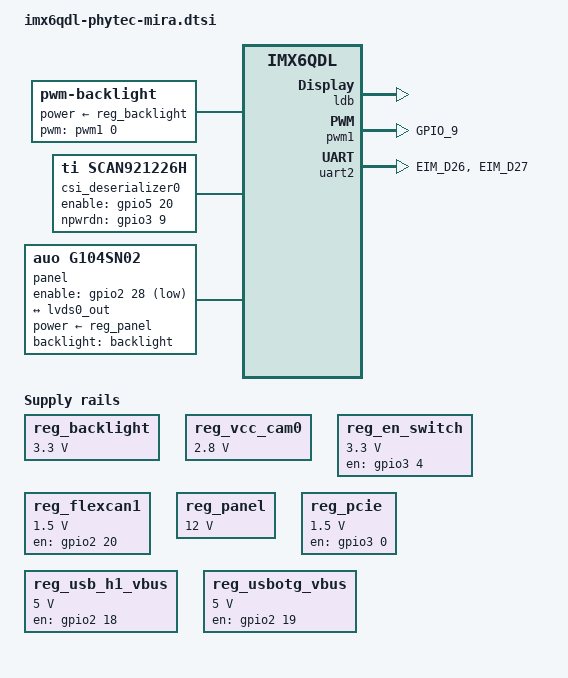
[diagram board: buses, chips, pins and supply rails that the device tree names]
// SPDX-License-Identifier: (GPL-2.0+ OR MIT)
/*
 * Copyright (C) 2018 PHYTEC Messtechnik GmbH
 * Author: Christian Hemp <c.hemp@phytec.de>
 */

#include <dt-bindings/leds/leds-pca9532.h>

/ {
	aliases {
		rtc0 = &i2c_rtc;
	};

	backlight: backlight {
		compatible = "pwm-backlight";
		brightness-levels = <0 4 8 16 32 64 128 255>;
		default-brightness-level = <7>;
		power-supply = <&reg_backlight>;
		pwms = <&pwm1 0 5000000>;
		status = "okay";
	};

	csi_deserializer0: csi_deserializer0 {
		compatible = "ti,scan921226h";
		pinctrl-names = "default";
		pinctrl-0 = <&pinctrl_cam0switch>;
		status = "okay";

		enable-gpios = <&gpio5 20 GPIO_ACTIVE_HIGH>;
		npwrdn-gpios = <&gpio3 9 GPIO_ACTIVE_HIGH>;

		#address-cells = <1>;
		#size-cells = <0>;

		/* serial sink interface */
		port@0 {
			reg = <0>;

			des0_in: endpoint {
			};
		};

		/* parallel source interface */
		port@1 {
			reg = <1>;

			des0_out: endpoint {
			};
		};
	};

	dim_gpio_leds: dimleds {
		compatible = "gpio-leds";
		status = "disabled";

		mira-red {
			gpios = <&leddim 0 GPIO_ACTIVE_LOW>;
			linux,default-trigger = "none";
		};

		mira-green {
			gpios = <&leddim 1 GPIO_ACTIVE_LOW>;
			linux,default-trigger = "none";
		};

		mira-blue {
			gpios = <&leddim 2 GPIO_ACTIVE_LOW>;
			linux,default-trigger = "mmc0";
			default-state = "on";
		};
	};

	gpio_leds: leds {
		compatible = "gpio-leds";
		pinctrl-names = "default";
		pinctrl-0 = <&pinctrl_gpioleds>;
		status = "disabled";

		mira-red {
			gpios = <&gpio5 22 GPIO_ACTIVE_HIGH>;
		};

		mira-green {
			gpios = <&gpio5 23 GPIO_ACTIVE_HIGH>;
		};

		mira-blue {
			gpios = <&gpio5 24 GPIO_ACTIVE_HIGH>;
			linux,default-trigger = "mmc0";
		};
	};

	reg_backlight: regulator-backlight {
		compatible = "regulator-fixed";
		regulator-name = "backlight_3v3";
		regulator-min-microvolt = <3300000>;
		regulator-max-microvolt = <3300000>;
		regulator-always-on;
	};

	reg_vcc_cam0: regulator-cam0 {
		compatible = "regulator-fixed";
		regulator-name = "VCC_CAM0";
		regulator-min-microvolt = <2800000>;
		regulator-max-microvolt = <2800000>;
	};

	reg_en_switch: regulator-en-switch {
		compatible = "regulator-fixed";
		pinctrl-names = "default";
		pinctrl-0 = <&pinctrl_en_switch>;
		regulator-name = "Enable Switch";
		regulator-min-microvolt = <3300000>;
		regulator-max-microvolt = <3300000>;
		enable-active-high;
		gpio = <&gpio3 4 GPIO_ACTIVE_HIGH>;
		regulator-always-on;
	};

	reg_flexcan1: regulator-flexcan1 {
		compatible = "regulator-fixed";
		pinctrl-names = "default";
		pinctrl-0 = <&pinctrl_flexcan1_en>;
		regulator-name = "flexcan1-reg";
		regulator-min-microvolt = <1500000>;
		regulator-max-microvolt = <1500000>;
		gpio = <&gpio2 20 GPIO_ACTIVE_HIGH>;
		enable-active-high;
	};

	reg_panel: regulator-panel {
		compatible = "regulator-fixed";
		regulator-name = "panel-power-supply";
		regulator-min-microvolt = <12000000>;
		regulator-max-microvolt = <12000000>;
		regulator-always-on;
	};

	reg_pcie: regulator-pcie {
		compatible = "regulator-fixed";
		pinctrl-names = "default";
		pinctrl-0 = <&pinctrl_pcie_reg>;
		regulator-name = "mPCIe_1V5";
		regulator-min-microvolt = <1500000>;
		regulator-max-microvolt = <1500000>;
		gpio = <&gpio3 0 GPIO_ACTIVE_HIGH>;
		enable-active-high;
	};

	reg_usb_h1_vbus: usb-h1-vbus {
		compatible = "regulator-fixed";
		pinctrl-names = "default";
		pinctrl-0 = <&pinctrl_usbh1_vbus>;
		regulator-name = "usb_h1_vbus";
		regulator-min-microvolt = <5000000>;
		regulator-max-microvolt = <5000000>;
		gpio = <&gpio2 18 GPIO_ACTIVE_HIGH>;
		enable-active-high;
	};

	reg_usbotg_vbus: usbotg-vbus {
		compatible = "regulator-fixed";
		pinctrl-names = "default";
		pinctrl-0 = <&pinctrl_usbotg_vbus>;
		regulator-name = "usb_otg_vbus";
		regulator-min-microvolt = <5000000>;
		regulator-max-microvolt = <5000000>;
		gpio = <&gpio2 19 GPIO_ACTIVE_HIGH>;
		enable-active-high;
	};

	panel {
		compatible = "auo,g104sn02";
		pinctrl-names = "default";
		pinctrl-0 = <&pinctrl_panel_en>;
		power-supply = <&reg_panel>;
		enable-gpios = <&gpio2 28 GPIO_ACTIVE_LOW>;
		backlight = <&backlight>;

		port {
			panel_in: endpoint {
				remote-endpoint = <&lvds0_out>;
			};
		};
	};
};

&can1 {
	pinctrl-names = "default";
	pinctrl-0 = <&pinctrl_flexcan1>;
	xceiver-supply = <&reg_flexcan1>;
	status = "disabled";
};

&hdmi {
	pinctrl-names = "default";
	pinctrl-0 = <&pinctrl_hdmicec>;
	ddc-i2c-bus = <&i2c2>;
	status = "disabled";
};

&i2c1 {
	pinctrl-names = "default";
	pinctrl-0 = <&pinctrl_i2c1>;
	clock-frequency = <100000>;
	status = "disabled";

	leddim: leddimmer@62 {
		compatible = "nxp,pca9533";
		gpio-controller;
		#gpio-cells = <2>;
		reg = <0x62>;
		status = "disabled";

		red {
			label = "red";
			type = <PCA9532_TYPE_GPIO>;
		};

		green {
			label = "green";
			type = <PCA9532_TYPE_GPIO>;
		};

		blue {
			label = "blue";
			type = <PCA9532_TYPE_GPIO>;
		};
	};

	stmpe: touchctrl@44 {
		compatible = "st,stmpe811";
		pinctrl-names = "default";
		pinctrl-0 = <&pinctrl_stmpe>;
		reg = <0x44>;
		interrupt-parent = <&gpio7>;
		interrupts = <12 IRQ_TYPE_NONE>;
		status = "disabled";

		stmpe_touchscreen {
			compatible = "st,stmpe-ts";
			st,sample-time = <4>;
			st,mod-12b = <1>;
			st,ref-sel = <0>;
			st,adc-freq = <1>;
			st,ave-ctrl = <1>;
			st,touch-det-delay = <2>;
			st,settling = <2>;
			st,fraction-z = <7>;
			st,i-drive = <1>;
		};
	};

	i2c_rtc: rtc@68 {
		compatible = "microcrystal,rv4162";
		pinctrl-names = "default";
		pinctrl-0 = <&pinctrl_rtc_int>;
		reg = <0x68>;
		interrupt-parent = <&gpio7>;
		interrupts = <8 IRQ_TYPE_LEVEL_HIGH>;
		status = "disabled";
	};

	/* VM-011 */
	mt9p031_0: mt9p031_0@48 {
		compatible = "aptina,mt9p031";
		pinctrl-names = "default";
		pinctrl-0 = <
			&pinctrl_cam0data
			&pinctrl_cam0clk
		>;
		reg = <0x48>;
		status = "disabled";

		vdd-supply = <&reg_vcc_cam0>;
		vdd_io-supply = <&reg_vcc_cam0>;
		vaa-supply = <&reg_vcc_cam0>;

		clocks = <&clks IMX6QDL_CLK_CKO1>;

		assigned-clocks =
			<&clks IMX6QDL_CLK_CKO1_SEL>,
			<&clks IMX6QDL_CLK_CKO>,
			<&clks IMX6QDL_CLK_PLL4_AUDIO_DIV>;

		assigned-clock-parents =
			<&clks IMX6QDL_CLK_PLL4_AUDIO_DIV>,
			<&clks IMX6QDL_CLK_CKO1>;

		assigned-clock-rates = <0>, <0>, <216000000>;

		port {
			mt9p031_ep0: endpoint {
				remote-endpoint = <
					&ipu1_csi0_mux_from_parallel_sensor
				>;
				input-clock-frequency = <54000000>;
				pixel-clock-frequency = <54000000>;
				bus-width = <8>;
				hsync-active = <1>;
				vsync-active = <1>;
				pclk-sample = <1>;
			};
		};
	};

	/* VM-010 */
	mt9v024_0: mt9v024_0@48 {
		compatible = "aptina,mt9v024";
		pinctrl-names = "default";
		pinctrl-0 = <
			&pinctrl_cam0data
			&pinctrl_cam0clk
		>;
		reg = <0x48>;
		status = "disabled";

		clocks = <&clks IMX6QDL_CLK_CKO1>;

		assigned-clocks =
			<&clks IMX6QDL_CLK_CKO1_SEL>,
			<&clks IMX6QDL_CLK_CKO>,
			<&clks IMX6QDL_CLK_PLL4_AUDIO_DIV>;

		assigned-clock-parents =
			<&clks IMX6QDL_CLK_PLL4_AUDIO_DIV>,
			<&clks IMX6QDL_CLK_CKO1>;

		assigned-clock-rates = <0>, <0>, <216000000>;

		port {
			mt9v024_ep0_0: endpoint {
				remote-endpoint = <
					&ipu1_csi0_mux_from_parallel_sensor
				>;
				link-frequencies = /bits/ 64 <27000000>;
				bus-width = <8>;
				hsync-active = <1>;
				vsync-active = <1>;
			};
		};
        };

	/* VM-009 */
	mt9m111_0: mt9m111_0@48 {
		compatible = "micron,mt9m111";
		pinctrl-names = "default";
		pinctrl-0 = <
			&pinctrl_cam0data
			&pinctrl_cam0clk
		>;
		reg = <0x48>;
		status = "disabled";

		clocks = <&clks IMX6QDL_CLK_CKO>;
		clock-names = "mclk";
		phytec,invert-pixclk;

		assigned-clocks =
			<&clks IMX6QDL_CLK_CKO1_SEL>,
			<&clks IMX6QDL_CLK_CKO>,
			<&clks IMX6QDL_CLK_PLL4_AUDIO_DIV>,
			<&clks IMX6QDL_CLK_CKO1>;


		assigned-clock-parents =
			<&clks IMX6QDL_CLK_PLL4_AUDIO_DIV>,
			<&clks IMX6QDL_CLK_CKO1>;

		assigned-clock-rates = <0>, <0>, <216000000>, <54000000>;

		port {
			mt9m111_ep0: endpoint {
				remote-endpoint = <
					&ipu1_csi0_mux_from_parallel_sensor
				>;
				bus-width = <8>;
				hsync-active = <1>;
				vsync-active = <1>;
			};
		};
	};

	/* VM-012 */
	vm012_0: vm012_0@48 {
		compatible = "phytec,vm012m";
		pinctrl-names = "default";
		pinctrl-0 = <
			&pinctrl_cam0data
			&pinctrl_cam0clk
		>;
		reg = <0x48>;
		status = "disabled";

		clocks = <&clks IMX6QDL_CLK_CKO1>;
		sysclk = <54000000>;

		assigned-clocks =
			<&clks IMX6QDL_CLK_CKO1_SEL>,
			<&clks IMX6QDL_CLK_CKO>,
			<&clks IMX6QDL_CLK_PLL4_AUDIO_DIV>;

		assigned-clock-parents =
			<&clks IMX6QDL_CLK_PLL4_AUDIO_DIV>,
			<&clks IMX6QDL_CLK_CKO1>;

		assigned-clock-rates = <0>, <0>, <216000000>;

		port {
			vm012_ep0: endpoint {
				remote-endpoint = <
					&ipu1_csi0_mux_from_parallel_sensor
				>;
				/* HACK: set some attribute; else BT.656 mode
				will be assumed silently */
				hsync-active = <1>;
				vsync-active = <1>;
				bus-width = <10>;
			};
		};
	};

	/* VM-050 */
	vm050_0: vm050_0@4a {
		#gpio-cells = <2>;
		compatible = "phytec,vm050";
		pinctrl-names = "default";
		pinctrl-0 = <
			&pinctrl_cam0data
			&pinctrl_cam0clk
		>;

		reg = <0x4a>;
		status = "disabled";

		port {
			vm050_ep0: endpoint {
				/* HACK: set some attribute; else BT.656 mode
				will be assumed silently */
				hsync-active = <1>;
				bus-width = <8>;
				remote-endpoint = <&ipu1_csi0_mux_from_parallel_sensor>;
			};
		};
	};
};

&i2c2 {
	pinctrl-names = "default";
	pinctrl-0 = <&pinctrl_i2c2>;
	clock-frequency = <100000>;
	status = "disabled";
};

&ipu1_csi0_mux_from_parallel_sensor {
	remote-endpoint = <&mt9p031_ep0>;
};

&ldb {
	status = "okay";

	lvds-channel@0 {
		fsl,data-mapping = "spwg";
		fsl,data-width = <18>;
		status = "disabled";

		port@4 {
			reg = <4>;

			lvds0_out: endpoint {
				remote-endpoint = <&panel_in>;
			};
		};
	};
};

&pcie {
	pinctrl-names = "default";
	pinctrl-0 = <&pinctrl_pcie>;
	reset-gpio = <&gpio2 25 GPIO_ACTIVE_LOW>;
	vpcie-supply = <&reg_pcie>;
	status = "disabled";
};

&pwm1 {
	pinctrl-names = "default";
	pinctrl-0 = <&pinctrl_pwm1>;
	status = "okay";
};

&uart2 {
	pinctrl-names = "default";
	pinctrl-0 = <&pinctrl_uart2>;
	status = "okay";
};

&uart3 {
	pinctrl-names = "default";
	pinctrl-0 = <&pinctrl_uart3>;
	uart-has-rtscts;
	status = "disabled";
};

&usbh1 {
	vbus-supply = <&reg_usb_h1_vbus>;
	disable-over-current;
	status = "disabled";
};

&usbotg {
	pinctrl-names = "default";
	pinctrl-0 = <&pinctrl_usbotg>;
	vbus-supply = <&reg_usbotg_vbus>;
	disable-over-current;
	status = "disabled";
};

&usdhc1 {
	pinctrl-names = "default";
	pinctrl-0 = <&pinctrl_usdhc1>;
	cd-gpios = <&gpio6 31 GPIO_ACTIVE_LOW>;
	no-1-8-v;
	status = "disabled";
};

&iomuxc {
	pinctrl_cam0data: cam0datagrp {
		fsl,pins = <
			MX6QDL_PAD_CSI0_DAT12__IPU1_CSI0_DATA12 0x0001b0b0
			MX6QDL_PAD_CSI0_DAT13__IPU1_CSI0_DATA13 0x0001b0b0
			MX6QDL_PAD_CSI0_DAT14__IPU1_CSI0_DATA14 0x0001b0b0
			MX6QDL_PAD_CSI0_DAT15__IPU1_CSI0_DATA15 0x0001b0b0
			MX6QDL_PAD_CSI0_DAT16__IPU1_CSI0_DATA16 0x0001b0b0
			MX6QDL_PAD_CSI0_DAT17__IPU1_CSI0_DATA17 0x0001b0b0
			MX6QDL_PAD_CSI0_DAT18__IPU1_CSI0_DATA18 0x0001b0b0
			MX6QDL_PAD_CSI0_DAT19__IPU1_CSI0_DATA19 0x0001b0b0
			MX6QDL_PAD_CSI0_MCLK__IPU1_CSI0_HSYNC   0x0001b0b0
			MX6QDL_PAD_CSI0_PIXCLK__IPU1_CSI0_PIXCLK 0x4001b0b0
			MX6QDL_PAD_CSI0_VSYNC__IPU1_CSI0_VSYNC  0x0001b0b0
		>;
	};

	pinctrl_cam0clk: cam0clkgrp {
		fsl,pins = <MX6QDL_PAD_GPIO_0__CCM_CLKO1	0x000000b9>;
	};

	pinctrl_cam0switch: cam0switchgrp {
		fsl,pins = <
			MX6QDL_PAD_CSI0_DATA_EN__GPIO5_IO20	0x4001b0b0
			MX6QDL_PAD_EIM_DA9__GPIO3_IO09		0x4001b0b0
		>;
	};

	pinctrl_panel_en: panelen1grp {
		fsl,pins = <
			MX6QDL_PAD_EIM_EB0__GPIO2_IO28		0xb0b1
		>;
	};

	pinctrl_en_switch: enswitchgrp {
		fsl,pins = <
			MX6QDL_PAD_EIM_DA4__GPIO3_IO04		0xb0b1
		>;
	};

	pinctrl_flexcan1: flexcan1grp {
		fsl,pins = <
			MX6QDL_PAD_GPIO_7__FLEXCAN1_TX		0x1b0b0
			MX6QDL_PAD_GPIO_8__FLEXCAN1_RX		0x1b0b0
		>;
	};

	pinctrl_flexcan1_en: flexcan1engrp {
		fsl,pins = <
			MX6QDL_PAD_EIM_A18__GPIO2_IO20		0xb0b1
		>;
	};

	pinctrl_gpioleds: gpioledsgrp {
		fsl,pins = <
			MX6QDL_PAD_CSI0_DAT4__GPIO5_IO22	0x1b0b0
			MX6QDL_PAD_CSI0_DAT5__GPIO5_IO23	0x1b0b0
			MX6QDL_PAD_CSI0_DAT6__GPIO5_IO24	0x1b0b0
		>;
	};

	pinctrl_hdmicec: hdmicecgrp {
		fsl,pins = <
			MX6QDL_PAD_KEY_ROW2__HDMI_TX_CEC_LINE	0x1f8b0
		>;
	};

	pinctrl_i2c2: i2c2grp {
		fsl,pins = <
			MX6QDL_PAD_KEY_ROW3__I2C2_SDA		0x4001b8b1
			MX6QDL_PAD_KEY_COL3__I2C2_SCL		0x4001b8b1
		>;
	};

	pinctrl_i2c1: i2c1grp {
		fsl,pins = <
			MX6QDL_PAD_EIM_D21__I2C1_SCL		0x4001b8b1
			MX6QDL_PAD_EIM_D28__I2C1_SDA		0x4001b8b1
		>;
	};

	pinctrl_pcie: pciegrp {
		fsl,pins = <
			MX6QDL_PAD_EIM_OE__GPIO2_IO25		0xb0b1
		>;
	};

	pinctrl_pcie_reg: pciereggrp {
		fsl,pins = <
			MX6QDL_PAD_EIM_DA0__GPIO3_IO00		0xb0b1
		>;
	};

	pinctrl_pwm1: pwm1grp {
		fsl,pins = <
			MX6QDL_PAD_GPIO_9__PWM1_OUT		0x1b0b1
		>;
	};

	pinctrl_rtc_int: rtcintgrp {
		fsl,pins = <
			MX6QDL_PAD_SD3_RST__GPIO7_IO08		0x1b0b0
		>;
	};

	pinctrl_stmpe: stmpegrp {
		fsl,pins = <
			MX6QDL_PAD_GPIO_17__GPIO7_IO12		0x1b0b0
		>;
	};

	pinctrl_uart2: uart2grp {
		fsl,pins = <
			MX6QDL_PAD_EIM_D26__UART2_TX_DATA	0x1b0b1
			MX6QDL_PAD_EIM_D27__UART2_RX_DATA	0x1b0b1
		>;
	};

	pinctrl_uart3: uart3grp {
		fsl,pins = <
			MX6QDL_PAD_EIM_EB3__UART3_RTS_B		0x1b0b1
			MX6QDL_PAD_EIM_D23__UART3_CTS_B		0x1b0b1
			MX6QDL_PAD_EIM_D24__UART3_TX_DATA	0x1b0b1
			MX6QDL_PAD_EIM_D25__UART3_RX_DATA	0x1b0b1
		>;
	};

	pinctrl_usbh1_vbus: usbh1vbusgrp {
		fsl,pins = <
			MX6QDL_PAD_EIM_A20__GPIO2_IO18		0xb0b1
		>;
	};

	pinctrl_usbotg: usbotggrp {
		fsl,pins = <
			MX6QDL_PAD_GPIO_1__USB_OTG_ID		0x17059
		>;
	};

	pinctrl_usbotg_vbus: usbotgvbusgrp {
		fsl,pins = <
			MX6QDL_PAD_EIM_A19__GPIO2_IO19		0xb0b1
		>;
	};

	pinctrl_usdhc1: usdhc1grp {
		fsl,pins = <
			MX6QDL_PAD_SD1_CMD__SD1_CMD		0x170f9
			MX6QDL_PAD_SD1_CLK__SD1_CLK		0x100f9
			MX6QDL_PAD_SD1_DAT0__SD1_DATA0		0x170f9
			MX6QDL_PAD_SD1_DAT1__SD1_DATA1		0x170f9
			MX6QDL_PAD_SD1_DAT2__SD1_DATA2		0x170f9
			MX6QDL_PAD_SD1_DAT3__SD1_DATA3		0x170f9
			MX6QDL_PAD_EIM_BCLK__GPIO6_IO31		0xb0b1  /* CD */
		>;
	};
};
